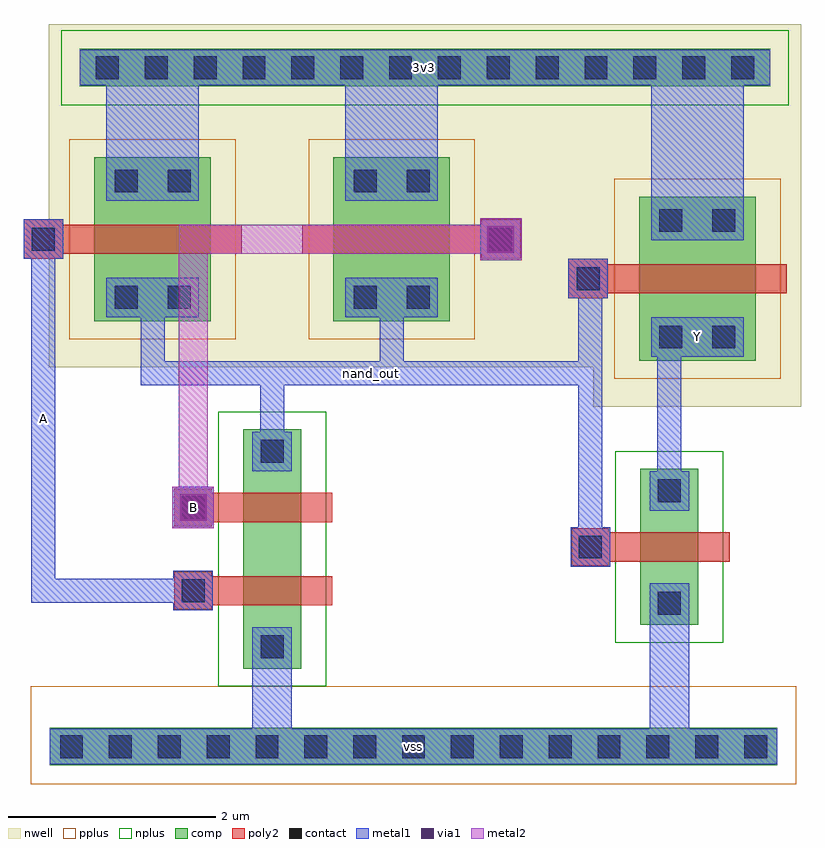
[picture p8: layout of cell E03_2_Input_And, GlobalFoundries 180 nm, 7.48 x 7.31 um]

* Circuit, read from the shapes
.subckt E03_2_Input_And 3v3 A B Y nand_out vss
XM1 n1 A vss vss nfet_03v3 w=0.56u l=0.28u
XM2 nand_out B n1 vss nfet_03v3 w=0.56u l=0.28u
XM3 Y nand_out vss vss nfet_03v3 w=0.56u l=0.28u
XM4 3v3 A nand_out 3v3 pfet_03v3 w=1.12u l=0.28u
XM5 3v3 B nand_out 3v3 pfet_03v3 w=1.12u l=0.28u
XM6 3v3 nand_out Y 3v3 pfet_03v3 w=1.12u l=0.28u
.ends

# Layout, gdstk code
import gdstk
lib = gdstk.Library(unit=1e-6, precision=1e-09)
def R(c, l, rs):  # rectangles x0, y0, x1, y1
    for r in rs: c.add(gdstk.rectangle(r[:2], r[2:], *l))
def A(c, l, x, y, w, h, nx, ny, dx, dy):  # array of equal rectangles
    R(c, l, [(x+i*dx, y+j*dy, x+i*dx+w, y+j*dy+h) for i in range(nx) for j in range(ny)])
def P(c, l, *ps):  # polygons
    for p in ps: c.add(gdstk.Polygon(p, *l))
nwell = (21, 0)
comp = (22, 0)
poly2 = (30, 0)
pplus = (31, 0)
nplus = (32, 0)
contact = (33, 0)
metal1 = (34, 0)
via1 = (35, 0)
metal2 = (36, 0)

e03_2_input_and = lib.new_cell('E03_2_Input_And')
P(e03_2_input_and, nwell, [(2.63,-0.03),(2.63,0.35),(-2.61,0.35),(-2.61,3.65),(4.63,3.65),(4.63,-0.03)])
R(e03_2_input_and, comp, [(-2.6,-3.48,4.4,-3.12), (-0.74,-2.55,-0.18,-0.25), (3.08,-2.13,3.64,-0.63), (3.07,0.41,4.19,1.99), (-2.17,0.79,-1.05,2.37), (0.13,0.79,1.25,2.37), (-2.31,3.05,4.33,3.41)])
P(e03_2_input_and, poly2, [(-1.4,-1.98),(-1.4,-1.62),(-1.04,-1.62),(-1.04,-1.66),(0.12,-1.66),(0.12,-1.94),(-1.04,-1.94),(-1.04,-1.98)],
  [(2.42,-1.56),(2.42,-1.2),(2.78,-1.2),(2.78,-1.24),(3.94,-1.24),(3.94,-1.52),(2.78,-1.52),(2.78,-1.56)],
  [(-1.4,-1.18),(-1.4,-0.82),(-1.04,-0.82),(-1.04,-0.86),(0.12,-0.86),(0.12,-1.14),(-1.04,-1.14),(-1.04,-1.18)],
  [(2.39,1.01),(2.39,1.39),(2.77,1.39),(2.77,1.34),(4.49,1.34),(4.49,1.06),(2.77,1.06),(2.77,1.01)],
  [(-2.85,1.39),(-2.85,1.77),(-2.47,1.77),(-2.47,1.72),(-0.75,1.72),(-0.75,1.44),(-2.47,1.44),(-2.47,1.39)],
  [(1.55,1.39),(1.55,1.44),(-0.17,1.44),(-0.17,1.72),(1.55,1.72),(1.55,1.77),(1.93,1.77),(1.93,1.39)])
R(e03_2_input_and, pplus, [(-2.78,-3.66,4.58,-2.72), (2.83,0.24,4.43,2.16), (-2.41,0.62,-0.81,2.54), (-0.11,0.62,1.49,2.54)])
R(e03_2_input_and, nplus, [(-0.98,-2.72,0.06,-0.08), (2.84,-2.3,3.88,-0.46), (-2.49,2.87,4.51,3.59)])
A(e03_2_input_and, contact, -2.5, -3.41, 0.22, 0.22, 15, 1, 0.47, 0)
A(e03_2_input_and, contact, -2.155, 3.12, 0.22, 0.22, 14, 1, 0.47, 0)
R(e03_2_input_and, contact, [(-0.57,-2.45,-0.35,-2.23), (3.25,-2.03,3.47,-1.81), (-1.33,-1.91,-1.11,-1.69), (2.49,-1.49,2.71,-1.27), (-1.33,-1.11,-1.11,-0.89), (3.25,-0.95,3.47,-0.73), (-0.57,-0.57,-0.35,-0.35), (3.265,0.53,3.485,0.75), (3.775,0.53,3.995,0.75), (-1.975,0.91,-1.755,1.13), (-1.465,0.91,-1.245,1.13), (0.325,0.91,0.545,1.13), (0.835,0.91,1.055,1.13), (2.47,1.09,2.69,1.31), (-2.77,1.47,-2.55,1.69), (1.63,1.47,1.85,1.69), (3.265,1.65,3.485,1.87), (3.775,1.65,3.995,1.87), (-1.975,2.03,-1.755,2.25), (-1.465,2.03,-1.245,2.25), (0.325,2.03,0.545,2.25), (0.835,2.03,1.055,2.25)])
R(e03_2_input_and, metal1, [(-1.42,-1.2,-1.02,-0.8), (1.54,1.38,1.94,1.78)])
P(e03_2_input_and, metal1, [(-2.6,-3.47),(-2.6,-3.13),(-0.65,-3.13),(-0.65,-2.15),(-0.27,-2.15),(-0.27,-3.13),(3.17,-3.13),(3.17,-1.73),(3.55,-1.73),(3.55,-3.13),(4.4,-3.13),(4.4,-3.47)],
  [(3.17,-1.03),(3.17,-0.65),(3.245,-0.65),(3.245,0.45),(3.185,0.45),(3.185,0.83),(4.075,0.83),(4.075,0.45),(3.475,0.45),(3.475,-0.65),(3.55,-0.65),(3.55,-1.03)],
  [(2.41,-1.57),(2.41,-1.19),(2.485,-1.19),(2.485,0.175),(-0.345,0.175),(-0.345,-0.27),(-0.27,-0.27),(-0.27,-0.65),(-0.65,-0.65),(-0.65,-0.27),(-0.575,-0.27),(-0.575,0.175),(-1.725,0.175),(-1.725,0.83),(-2.055,0.83),(-2.055,1.21),(-1.165,1.21),(-1.165,0.83),(-1.495,0.83),(-1.495,0.405),(0.575,0.405),(0.575,0.83),(0.245,0.83),(0.245,1.21),(1.135,1.21),(1.135,0.83),(0.805,0.83),(0.805,0.405),(2.485,0.405),(2.485,1.01),(2.39,1.01),(2.39,1.39),(2.77,1.39),(2.77,1.01),(2.715,1.01),(2.715,-1.19),(2.79,-1.19),(2.79,-1.57)],
  [(-1.41,-1.99),(-1.41,-1.915),(-2.775,-1.915),(-2.775,1.39),(-2.85,1.39),(-2.85,1.77),(-2.47,1.77),(-2.47,1.39),(-2.545,1.39),(-2.545,-1.685),(-1.41,-1.685),(-1.41,-1.61),(-1.03,-1.61),(-1.03,-1.99)],
  [(3.185,1.57),(3.185,3.06),(1.135,3.06),(1.135,1.95),(0.245,1.95),(0.245,3.06),(-1.165,3.06),(-1.165,1.95),(-2.055,1.95),(-2.055,3.06),(-2.31,3.06),(-2.31,3.4),(4.33,3.4),(4.33,3.06),(4.075,3.06),(4.075,1.57)])
R(e03_2_input_and, via1, [(-1.35,-1.13,-1.09,-0.87), (1.61,1.45,1.87,1.71)])
P(e03_2_input_and, metal2, [(-1.42,-1.2),(-1.42,-0.8),(-1.36,-0.8),(-1.36,1.72),(1.54,1.72),(1.54,1.78),(1.94,1.78),(1.94,1.38),(1.54,1.38),(1.54,1.44),(-1.08,1.44),(-1.08,-0.8),(-1.02,-0.8),(-1.02,-1.2)])
e03_2_input_and.add(gdstk.Label('A', (-2.66,-0.148), layer=34, texttype=10))
e03_2_input_and.add(gdstk.Label('B', (-1.22,-1), layer=34, texttype=10))
e03_2_input_and.add(gdstk.Label('nand_out', (0.495,0.29), layer=34, texttype=10))
e03_2_input_and.add(gdstk.Label('Y', (3.63,0.64), layer=34, texttype=10))
e03_2_input_and.add(gdstk.Label('3v3', (1.01,3.23), layer=34, texttype=10))
e03_2_input_and.add(gdstk.Label('vss', (0.9,-3.3), layer=34, texttype=10))

lib.write_gds('E03_2_Input_And.gds')
